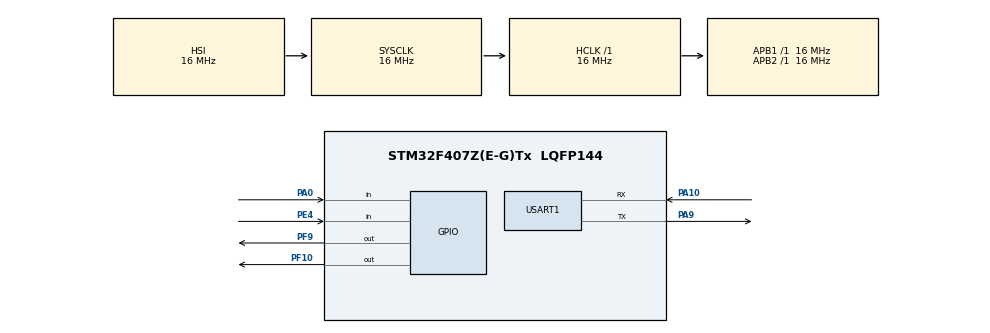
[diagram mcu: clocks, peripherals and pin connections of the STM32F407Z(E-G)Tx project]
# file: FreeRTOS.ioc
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Dma.Request0=USART1_RX
Dma.Request1=USART1_TX
Dma.USART1_RX.0.Direction=DMA_PERIPH_TO_MEMORY
Dma.USART1_RX.0.FIFOMode=DMA_FIFOMODE_DISABLE
Dma.USART1_RX.0.Instance=DMA2_Stream2
Dma.USART1_RX.0.MemDataAlignment=DMA_MDATAALIGN_BYTE
Dma.USART1_RX.0.MemInc=DMA_MINC_ENABLE
Dma.USART1_RX.0.Mode=DMA_NORMAL
Dma.USART1_RX.0.PeriphDataAlignment=DMA_PDATAALIGN_BYTE
Dma.USART1_RX.0.PeriphInc=DMA_PINC_DISABLE
Dma.USART1_RX.0.Priority=DMA_PRIORITY_LOW
Dma.USART1_TX.1.Direction=DMA_MEMORY_TO_PERIPH
Dma.USART1_TX.1.FIFOMode=DMA_FIFOMODE_DISABLE
Dma.USART1_TX.1.Instance=DMA2_Stream7
Dma.USART1_TX.1.MemDataAlignment=DMA_MDATAALIGN_BYTE
Dma.USART1_TX.1.MemInc=DMA_MINC_ENABLE
Dma.USART1_TX.1.Mode=DMA_NORMAL
Dma.USART1_TX.1.PeriphDataAlignment=DMA_PDATAALIGN_BYTE
Dma.USART1_TX.1.PeriphInc=DMA_PINC_DISABLE
Dma.USART1_TX.1.Priority=DMA_PRIORITY_LOW
FREERTOS.Tasks01=LED0,0,128,LED0Task,Default,NULL,Dynamic,NULL,NULL;LED1,1,128,LED1Task,Default,NULL,Dynamic,NULL,NULL;KEY,1,128,KEY_Task,Default,NULL,Dynamic,NULL,NULL
Mcu.Family=STM32F4
Mcu.Name=STM32F407Z(E-G)Tx
Mcu.Package=LQFP144
NVIC.DMA2_Stream2_IRQn=true\:5\:0\:false\:false\:true\:true\:false\:true\:true
NVIC.DMA2_Stream7_IRQn=true\:5\:0\:false\:false\:true\:true\:false\:true\:true
NVIC.PriorityGroup=NVIC_PRIORITYGROUP_4
NVIC.TIM2_IRQn=true\:15\:0\:false\:false\:true\:false\:false\:true\:true
NVIC.TimeBase=TIM2_IRQn
NVIC.TimeBaseIP=TIM2
NVIC.USART1_IRQn=true\:5\:0\:false\:false\:true\:true\:true\:true\:true
PA0-WKUP.GPIO_PuPd=GPIO_PULLDOWN
PA0-WKUP.Signal=GPIO_Input
PA10.Mode=Asynchronous
PA10.Signal=USART1_RX
PA13.Mode=Serial_Wire
PA13.Signal=SYS_JTMS-SWDIO
PA14.Mode=Serial_Wire
PA14.Signal=SYS_JTCK-SWCLK
PA9.Mode=Asynchronous
PA9.Signal=USART1_TX
PE4.GPIO_PuPd=GPIO_PULLDOWN
PE4.Signal=GPIO_Input
PF10.GPIO_ModeDefaultOutputPP=GPIO_MODE_OUTPUT_PP
PF10.GPIO_PuPd=GPIO_NOPULL
PF10.Signal=GPIO_Output
PF9.GPIO_ModeDefaultOutputPP=GPIO_MODE_OUTPUT_PP
PF9.GPIO_PuPd=GPIO_NOPULL
PF9.Signal=GPIO_Output
PH0-OSC_IN.Mode=HSE-External-Oscillator
PH0-OSC_IN.Signal=RCC_OSC_IN
PH1-OSC_OUT.Mode=HSE-External-Oscillator
PH1-OSC_OUT.Signal=RCC_OSC_OUT
ProjectManager.HeapSize=0x200
ProjectManager.StackSize=0x400
ProjectManager.TargetToolchain=MDK-ARM V5.32
RCC.AHBFreq_Value=16000000
RCC.APB1Freq_Value=16000000
RCC.APB2Freq_Value=16000000
RCC.CortexFreq_Value=16000000
RCC.HSE_VALUE=25000000
RCC.HSI_VALUE=16000000
RCC.LSE_VALUE=32768
RCC.SYSCLKFreq_VALUE=16000000
RCC.VCOOutputFreq_Value=192000000
USART1.VirtualMode=VM_ASYNC
VP_FREERTOS_VS_CMSIS_V1.Mode=CMSIS_V1
VP_SYS_VS_tim2.Mode=TIM2
board=custom

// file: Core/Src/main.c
/* USER CODE BEGIN Header */
/**
  ******************************************************************************
  * @file           : main.c
  * @brief          : Main program body
  ******************************************************************************
  * @attention
  *
  * Copyright (c) 2025 STMicroelectronics.
  * All rights reserved.
  *
  * This software is licensed under terms that can be found in the LICENSE file
  * in the root directory of this software component.
  * If no LICENSE file comes with this software, it is provided AS-IS.
  *
  ******************************************************************************
  */
/* USER CODE END Header */
#include "main.h"
#include "cmsis_os.h"
#include "dma.h"
#include "usart.h"
#include "gpio.h"

void SystemClock_Config(void);
void MX_FREERTOS_Init(void);

int main(void)
{

  /* MCU Configuration--------------------------------------------------------*/

  /* Reset of all peripherals, Initializes the Flash interface and the Systick. */
  HAL_Init();

  /* Configure the system clock */
  SystemClock_Config();

  /* Initialize all configured peripherals */
  MX_GPIO_Init();
  MX_DMA_Init();
  MX_USART1_UART_Init();

  /* Call init function for freertos objects (in cmsis_os2.c) */
  MX_FREERTOS_Init();

  /* Start scheduler */
  osKernelStart();

  /* We should never get here as control is now taken by the scheduler */

  /* Infinite loop */
  while (1)
  {

  }
}

void SystemClock_Config(void)
{
  RCC_OscInitTypeDef RCC_OscInitStruct = {0};
  RCC_ClkInitTypeDef RCC_ClkInitStruct = {0};

  /** Configure the main internal regulator output voltage
  */
  __HAL_RCC_PWR_CLK_ENABLE();
  __HAL_PWR_VOLTAGESCALING_CONFIG(PWR_REGULATOR_VOLTAGE_SCALE1);

  /** Initializes the RCC Oscillators according to the specified parameters
  * in the RCC_OscInitTypeDef structure.
  */
  RCC_OscInitStruct.OscillatorType = RCC_OSCILLATORTYPE_HSI;
  RCC_OscInitStruct.HSIState = RCC_HSI_ON;
  RCC_OscInitStruct.HSICalibrationValue = RCC_HSICALIBRATION_DEFAULT;
  RCC_OscInitStruct.PLL.PLLState = RCC_PLL_NONE;
  if (HAL_RCC_OscConfig(&RCC_OscInitStruct) != HAL_OK)
  {
    Error_Handler();
  }

  /** Initializes the CPU, AHB and APB buses clocks
  */
  RCC_ClkInitStruct.ClockType = RCC_CLOCKTYPE_HCLK|RCC_CLOCKTYPE_SYSCLK
                              |RCC_CLOCKTYPE_PCLK1|RCC_CLOCKTYPE_PCLK2;
  RCC_ClkInitStruct.SYSCLKSource = RCC_SYSCLKSOURCE_HSI;
  RCC_ClkInitStruct.AHBCLKDivider = RCC_SYSCLK_DIV1;
  RCC_ClkInitStruct.APB1CLKDivider = RCC_HCLK_DIV1;
  RCC_ClkInitStruct.APB2CLKDivider = RCC_HCLK_DIV1;

  if (HAL_RCC_ClockConfig(&RCC_ClkInitStruct, FLASH_LATENCY_0) != HAL_OK)
  {
    Error_Handler();
  }
}

void HAL_TIM_PeriodElapsedCallback(TIM_HandleTypeDef *htim)
{
  if (htim->Instance == TIM2) {
    HAL_IncTick();
  }
}

void Error_Handler(void)
{
  __disable_irq();
  while (1)
  {
  }
}

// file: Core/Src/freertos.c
/* USER CODE BEGIN Header */
/**
  ******************************************************************************
  * File Name          : freertos.c
  * Description        : Code for freertos applications
  ******************************************************************************
  * @attention
  *
  * Copyright (c) 2025 STMicroelectronics.
  * All rights reserved.
  *
  * This software is licensed under terms that can be found in the LICENSE file
  * in the root directory of this software component.
  * If no LICENSE file comes with this software, it is provided AS-IS.
  *
  ******************************************************************************
  */
/* USER CODE END Header */

#include "FreeRTOS.h"
#include "task.h"
#include "main.h"
#include "cmsis_os.h"

/* USER CODE BEGIN PTD */
char Infobuffer[512]={0};
/* USER CODE END PTD */

osThreadId LED0Handle;
osThreadId LED1Handle;
osThreadId KEYHandle;

/* USER CODE BEGIN FunctionPrototypes */
osThreadId SenderHandle;
QueueHandle_t QueueHandle;
/* USER CODE END FunctionPrototypes */

void LED0Task(void const * argument);
void LED1Task(void const * argument);
void KEY_Task(void const * argument);

void MX_FREERTOS_Init(void); /* (MISRA C 2004 rule 8.1) */

/* GetIdleTaskMemory prototype (linked to static allocation support) */
void vApplicationGetIdleTaskMemory( StaticTask_t **ppxIdleTaskTCBBuffer, StackType_t **ppxIdleTaskStackBuffer, uint32_t *pulIdleTaskStackSize );

/* USER CODE BEGIN GET_IDLE_TASK_MEMORY */
static StaticTask_t xIdleTaskTCBBuffer;
static StackType_t xIdleStack[configMINIMAL_STACK_SIZE];

void vApplicationGetIdleTaskMemory( StaticTask_t **ppxIdleTaskTCBBuffer, StackType_t **ppxIdleTaskStackBuffer, uint32_t *pulIdleTaskStackSize )
{
  *ppxIdleTaskTCBBuffer = &xIdleTaskTCBBuffer;
  *ppxIdleTaskStackBuffer = &xIdleStack[0];
  *pulIdleTaskStackSize = configMINIMAL_STACK_SIZE;
  /* place for user code */
}
/* USER CODE END GET_IDLE_TASK_MEMORY */

void MX_FREERTOS_Init(void) {

  /* USER CODE BEGIN RTOS_QUEUES */
  /* add queues, ... */
	QueueHandle=xQueueCreate(5,sizeof(int32_t));
  /* USER CODE END RTOS_QUEUES */

  /* Create the thread(s) */
  /* definition and creation of LED0 */
  osThreadDef(LED0, LED0Task, osPriorityNormal, 0, 128);
  LED0Handle = osThreadCreate(osThread(LED0), (void *)100);

  /* definition and creation of LED1 */
  osThreadDef(LED1, LED1Task, osPriorityAboveNormal, 0, 128);
  LED1Handle = osThreadCreate(osThread(LED1), NULL);

  /* definition and creation of KEY */
  osThreadDef(KEY, KEY_Task, osPriorityAboveNormal, 0, 128);
  KEYHandle = osThreadCreate(osThread(KEY), NULL);

  /* USER CODE BEGIN RTOS_THREADS */
  /* add threads, ... */
  osThreadDef(Sender, LED0Task, osPriorityNormal, 0, 128);
  SenderHandle = osThreadCreate(osThread(Sender), (void *)200);
  /* USER CODE END RTOS_THREADS */

}

void LED0Task(void const * argument)
{
  /* USER CODE BEGIN LED0Task */
  int32_t infoNum;

  BaseType_t xStatus;
  infoNum=(int32_t)argument;
  /* Infinite loop */
  for(;;)
  {
//	  printf("%d\r\n",infoNum);
	xStatus=xQueueSendToBack(QueueHandle,&infoNum,1000);
//	HAL_GPIO_TogglePin(GPIOF,GPIO_PIN_9);
	if(xStatus!=pdPASS)printf("Could not send to the queue!\r\n");
    osDelay(1);
  }
  /* USER CODE END LED0Task */
}

void LED1Task(void const * argument)
{
  /* USER CODE BEGIN LED1Task */
  /* Infinite loop */
  int32_t infoNum;
  infoNum=(int32_t)argument;
  BaseType_t xStatus;
  for(;;)
  {
	xStatus=xQueueReceive(QueueHandle,&infoNum,0);
	if(xStatus==pdPASS)printf("%d\r\n",infoNum);
	else printf("could not receive the queue!\r\n");

	HAL_GPIO_TogglePin(GPIOF,GPIO_PIN_10);
//	vTaskList(Infobuffer);
//	printf("task name task\r\n");
//	printf("%s\r\n",Infobuffer);
    osDelay(500);
  }
  /* USER CODE END LED1Task */
}

void KEY_Task(void const * argument)
{
  /* USER CODE BEGIN KEY_Task */
	static uint8_t keynum=0;
  /* Infinite loop */
  for(;;)
  {
	keynum=keyScan();
	  if(keynum==1)vTaskSuspend(LED1Handle);
	  if(keynum==2)vTaskResume(LED1Handle);

//	printf("%d\r\n",keynum);
    osDelay(1);
  }
  /* USER CODE END KEY_Task */
}

/* USER CODE BEGIN Application */
uint8_t keyScan(void)
{
	static uint8_t keymark=0;
	if((HAL_GPIO_ReadPin(GPIOA,GPIO_PIN_0)||HAL_GPIO_ReadPin(GPIOE,GPIO_PIN_4))&&!keymark)
	{
		keymark=1;
		osDelay(10);
		if(HAL_GPIO_ReadPin(GPIOA,GPIO_PIN_0))return 1;
		if(HAL_GPIO_ReadPin(GPIOE,GPIO_PIN_4))return 2;
	}
	else if(!HAL_GPIO_ReadPin(GPIOA,GPIO_PIN_0)&&!HAL_GPIO_ReadPin(GPIOE,GPIO_PIN_4))keymark=0;
	return 0;
}
/* USER CODE END Application */
